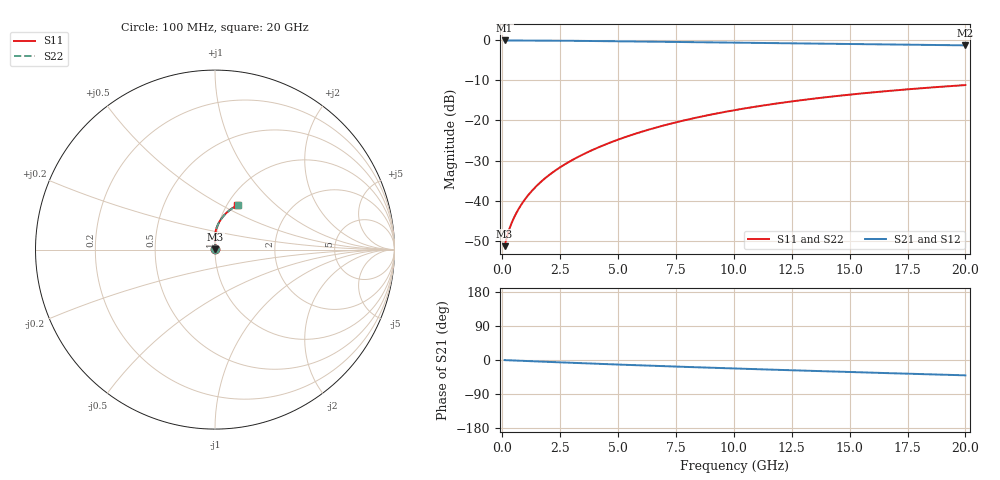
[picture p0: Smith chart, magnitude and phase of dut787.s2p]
! Touchstone file exported from HFSS 2024.1.0
!  File:  C:/UserFiles/LocalFiles/RDL_TSV_Batchsim/temp_RDL_bottom_787_1779861295.aedt
!  Generated:  01:57:09 PM May 27, 2026
!  Design:  RDL_bottom
!  Project:  temp_RDL_bottom_787_1779861295
!  Setup:  Setup1
!  Solution:  Sweep
! Variables:
!  dtsv = 10.80580581um
!  hbump = 3um
!  htsv = 79.98um
!  ldown = 636.13um
!  lrdl = 100um
!  p = 40
!  p1 = 46.4um
!  rhole = 1um
!  t = 450um
!  tdown = 3.81um
!  trdl = 3.915915916um
!  wdown = 28.03um
!  wrdl = 20um
# GHz S MA R 50.000000
! Terminal data exported
! Port[1] = RDL1_T1
! Port[2] = RDL1_T2
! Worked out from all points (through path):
!   200 points, 100 MHz to 20 GHz, reference 50 ohm
!   highest |S21| = -0.02 dB at 100 MHz (marker M1); lowest = -1.2 dB at 20 GHz (marker M2)
!   group delay of S21, straight-line fit = 5.54 ps
!   lowest |S11| = -51.4 dB at 100 MHz (marker M3), VSWR 1.01, Z = 50.2 + j0.129 ohm
!   |S11| at or under -10 dB: start of sweep to end of sweep
!   |S22| runs from -51.4 to -11.2 dB; largest |S21 - S12| = 2.7e-15
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0.1  0.002695 28.5  0.9976 -0.3  0.9976 -0.3  0.002695 28.5
! Gamma 0 0 0 0
! Port Impedance 50 0 50 0
0.2  0.003528 43.3  0.9974 -0.5  0.9974 -0.5  0.003528 43.3
0.3  0.004387 51.4  0.9971 -0.8  0.9971 -0.8  0.004388 51.4
0.4  0.005228 57.1  0.9969 -1.0  0.9969 -1.0  0.005229 57.1
0.5  0.006072 61.6  0.9967 -1.3  0.9967 -1.3  0.006073 61.6
0.8  0.008707 70.8  0.9961 -2.0  0.9961 -2.0  0.008708 70.8
1  0.01056 74.8  0.9957 -2.5  0.9957 -2.5  0.01056 74.8
1.2  0.01246 77.8  0.9952 -3.0  0.9952 -3.0  0.01246 77.8
1.7  0.01746 82.9  0.9936 -4.3  0.9936 -4.3  0.01745 82.9
2.2  0.02274 86.0  0.9916 -5.5  0.9916 -5.5  0.02273 86.0
2.8  0.02946 88.5  0.9887 -6.9  0.9887 -6.9  0.02945 88.4
3.5  0.03784 90.2  0.9846 -8.6  0.9846 -8.6  0.03782 90.1
4.2  0.04679 91.0  0.98 -10.2  0.98 -10.2  0.04676 90.9
5  0.05764 91.2  0.9743 -12.0  0.9743 -12.0  0.0576 91.2
5.9  0.07054 90.8  0.9675 -14.0  0.9675 -14.0  0.07047 90.7
6.8  0.084 89.8  0.9605 -15.9  0.9605 -15.9  0.08391 89.8
8.4  0.1088 87.3  0.9479 -19.2  0.9479 -19.2  0.1087 87.2
10.1  0.1356 84.0  0.9349 -22.5  0.9349 -22.5  0.1354 83.9
11.7  0.1606 80.6  0.9231 -25.6  0.9231 -25.6  0.1604 80.5
13.4  0.1865 76.9  0.911 -28.8  0.911 -28.8  0.1863 76.8
16.7  0.2339 69.8  0.8883 -34.7  0.8883 -34.7  0.2336 69.7
20  0.2767 63.1  0.8666 -40.5  0.8666 -40.5  0.2762 63.0
